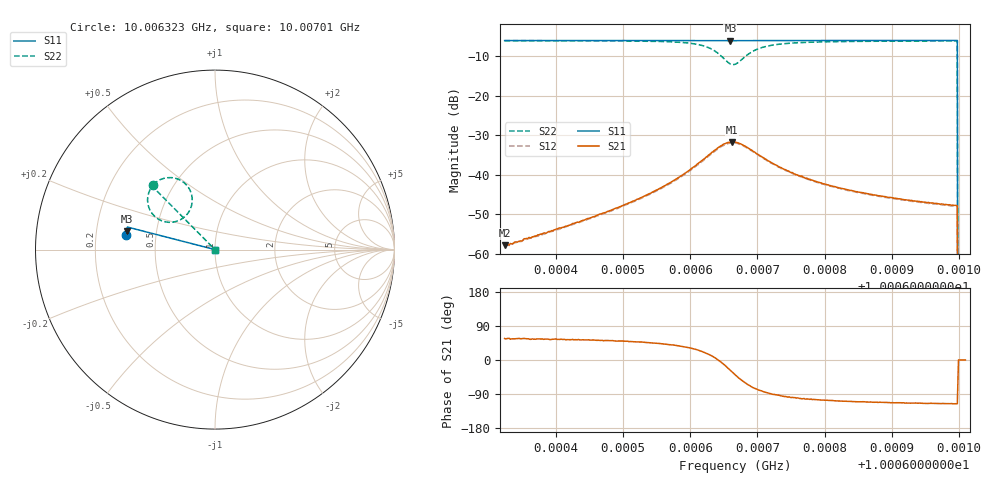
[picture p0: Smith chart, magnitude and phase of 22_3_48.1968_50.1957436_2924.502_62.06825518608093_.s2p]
#  HZ  S  RI  R  50.00
! Rohde & Schwarz Vector Network Analyzer
! Rohde-Schwarz,ZNB20-2Port,1311601062101988,3.16
! Created: UTC 3/20/2024, 11:37:00 AM
! freq[Hz]  re:S11  im:S11  re:S21  im:S21  re:S12  im:S12  re:S22  im:S22
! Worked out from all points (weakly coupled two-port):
!   401 points, 10.006323 GHz to 10.00701 GHz, reference 50 ohm
!   highest |S21| = -31.62 dB at 10.006661 GHz (marker M1); lowest = -57.8 dB at 10.006323 GHz (marker M2)
!   lowest |S11| = -6.0 dB at 10.00666 GHz (marker M3), VSWR 3.00, Z = 16.8 + j4.67 ohm
!   |S11| at or under -10 dB: 10.006998 GHz to end of sweep
!   |S22| runs from - to -6.0 dB; largest |S21 - S12| = 0.0018
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1.00063235e10  -0.4954 0.0831  0.000707 0.00108  0.000639 0.00108  -0.3457 0.3613
1.00063458e10  -0.495 0.0846  0.000796 0.00121  0.000724 0.00124  -0.3433 0.3637
1.00064384e10  -0.4941 0.0908  0.00158 0.0021  0.00143 0.00212  -0.3301 0.3746
1.00064968e10  -0.4933 0.0946  0.00257 0.00306  0.0024 0.00313  -0.3157 0.3841
1.00065534e10  -0.4929 0.0984  0.00482 0.00461  0.00451 0.00468  -0.2887 0.3958
1.00065877e10  -0.492 0.1009  0.00802 0.00577  0.00752 0.00601  -0.2543 0.4012
1.00066203e10  -0.4909 0.1031  0.0149 0.00558  0.0141 0.00611  -0.1895 0.3847
1.00066323e10  -0.4904 0.1036  0.019 0.00358  0.0182 0.00421  -0.1563 0.357
1.00066443e10  -0.4898 0.1041  0.0229 -0.00147  0.0222 -0.000107  -0.1297 0.3033
1.00066597e10  -0.4892 0.1041  0.0232 -0.012  0.0231 -0.0103  -0.1487 0.2058
1.00066614e10  -0.4893 0.1039  0.0227 -0.0132  0.0227 -0.0114  -0.1562 0.196
1.00066666e10  -0.4894 0.104  0.0203 -0.0162  0.0207 -0.0145  -0.1836 0.1719
1.00066769e10  -0.4897 0.1041  0.0143 -0.0196  0.0152 -0.0184  -0.2472 0.152
1.00066889e10  -0.4902 0.1047  0.00795 -0.0197  0.00886 -0.0189  -0.3078 0.1655
1.00067095e10  -0.4907 0.1062  0.00169 -0.0163  0.00255 -0.0158  -0.3582 0.2126
1.00067404e10  -0.4907 0.1086  -0.00131 -0.0116  -0.000678 -0.0116  -0.3751 0.264
1.00067815e10  -0.4904 0.1114  -0.00213 -0.00832  -0.00163 -0.00822  -0.3734 0.2999
1.00068347e10  -0.4897 0.1149  -0.0021 -0.00613  -0.00177 -0.00608  -0.3667 0.3232
1.00068965e10  -0.4892 0.1191  -0.00197 -0.00482  -0.00169 -0.00482  -0.3593 0.3384
1.00069943e10  -0.4877 0.1254  -0.00176 -0.00372  -0.00157 -0.0037  -0.3503 0.3528
1.00070029e10  0 0  0 0  0 0  0 0
1.00070097e10  0 0  0 0  0 0  0 0
